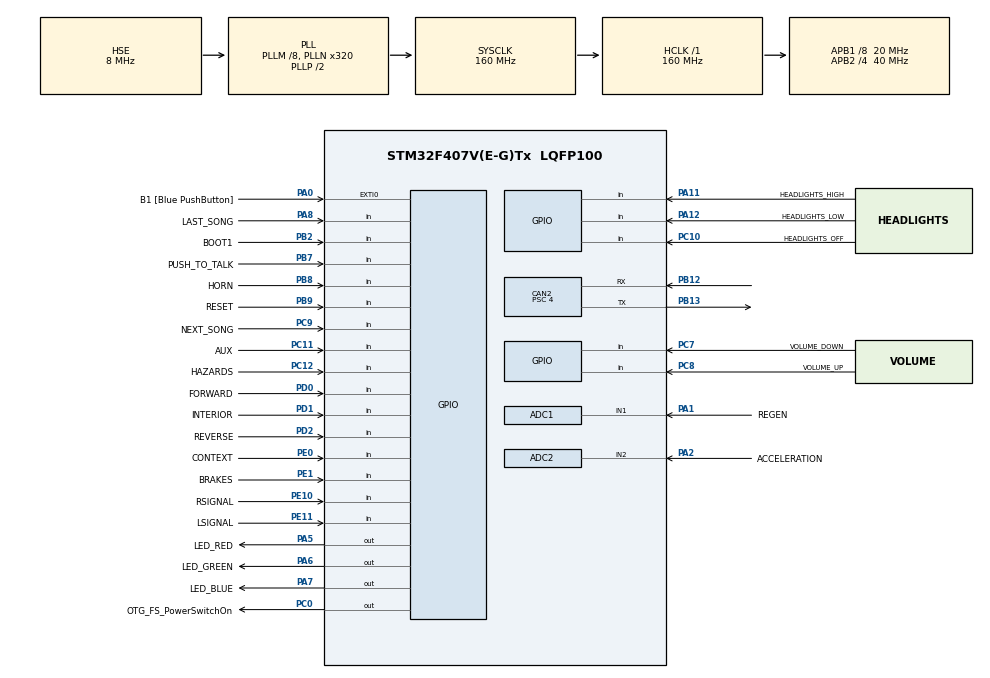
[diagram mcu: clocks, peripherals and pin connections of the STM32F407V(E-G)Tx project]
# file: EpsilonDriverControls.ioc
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ADC1.Channel-4\#ChannelRegularConversion=ADC_CHANNEL_1
ADC1.ContinuousConvMode=ENABLE
ADC1.EOCSelection=ADC_EOC_SEQ_CONV
ADC1.NbrOfConversionFlag=1
ADC1.Rank-4\#ChannelRegularConversion=1
ADC1.SamplingTime-4\#ChannelRegularConversion=ADC_SAMPLETIME_3CYCLES
ADC1.master=1
ADC2.Channel-0\#ChannelRegularConversion=ADC_CHANNEL_2
ADC2.ContinuousConvMode=ENABLE
ADC2.EOCSelection=ADC_EOC_SEQ_CONV
ADC2.NbrOfConversionFlag=1
ADC2.Rank-0\#ChannelRegularConversion=1
ADC2.SamplingTime-0\#ChannelRegularConversion=ADC_SAMPLETIME_3CYCLES
CAN2.BS1=CAN_BS1_5TQ
CAN2.BS2=CAN_BS2_4TQ
CAN2.CalculateBaudRate=500000
CAN2.CalculateTimeBit=2000
CAN2.CalculateTimeQuantum=200.0
CAN2.Prescaler=4
FREERTOS.INCLUDE_vTaskDelayUntil=1
FREERTOS.Tasks01=defaultTask,0,128,StartDefaultTask,Default
Mcu.Family=STM32F4
Mcu.Name=STM32F407V(E-G)Tx
Mcu.Package=LQFP100
NVIC.CAN2_RX0_IRQn=true\:5\:0\:false\:false\:true\:true\:true\:true\:true
NVIC.CAN2_TX_IRQn=true\:5\:0\:false\:false\:true\:true\:true\:true\:true
NVIC.PriorityGroup=NVIC_PRIORITYGROUP_4
NVIC.TIM2_IRQn=true\:15\:0\:false\:false\:true\:false\:true\:true\:true
NVIC.TimeBase=TIM2_IRQn
NVIC.TimeBaseIP=TIM2
PA0-WKUP.GPIO_Label=B1 [Blue PushButton]
PA0-WKUP.Signal=GPXTI0
PA1.GPIO_Label=REGEN
PA1.Signal=ADCx_IN1
PA11.GPIO_Label=HEADLIGHTS_HIGH
PA11.Signal=GPIO_Input
PA12.GPIO_Label=HEADLIGHTS_LOW
PA12.Signal=GPIO_Input
PA13.GPIO_Label=SWDIO
PA13.Mode=Trace_Asynchronous_SW
PA13.Signal=SYS_JTMS-SWDIO
PA14.GPIO_Label=SWCLK
PA14.Mode=Trace_Asynchronous_SW
PA14.Signal=SYS_JTCK-SWCLK
PA2.GPIO_Label=ACCELERATION
PA2.Signal=ADCx_IN2
PA5.GPIO_Label=LED_RED
PA5.Signal=GPIO_Output
PA6.GPIO_Label=LED_GREEN
PA6.Signal=GPIO_Output
PA7.GPIO_Label=LED_BLUE
PA7.Signal=GPIO_Output
PA8.GPIO_Label=LAST_SONG
PA8.Signal=GPIO_Input
PB12.Mode=CAN_Activate
PB12.Signal=CAN2_RX
PB13.Mode=CAN_Activate
PB13.Signal=CAN2_TX
PB2.GPIO_Label=BOOT1
PB2.GPIO_Mode=GPIO_MODE_INPUT
PB2.GPIO_PuPd=GPIO_NOPULL
PB2.Signal=GPIO_Input
PB3.GPIO_Label=SWO
PB3.Mode=Trace_Asynchronous_SW
PB3.Signal=SYS_JTDO-SWO
PB7.GPIO_Label=PUSH_TO_TALK
PB7.Signal=GPIO_Input
PB8.GPIO_Label=HORN
PB8.Signal=GPIO_Input
PB9.GPIO_Label=RESET
PB9.Signal=GPIO_Input
PC0.GPIO_Label=OTG_FS_PowerSwitchOn
PC0.GPIO_PuPd=GPIO_NOPULL
PC0.GPIO_Speed=GPIO_SPEED_FREQ_LOW
PC0.Signal=GPIO_Output
PC10.GPIO_Label=HEADLIGHTS_OFF
PC10.Signal=GPIO_Input
PC11.GPIO_Label=AUX
PC11.Signal=GPIO_Input
PC12.GPIO_Label=HAZARDS
PC12.Signal=GPIO_Input
PC7.GPIO_Label=VOLUME_DOWN
PC7.Signal=GPIO_Input
PC8.GPIO_Label=VOLUME_UP
PC8.Signal=GPIO_Input
PC9.GPIO_Label=NEXT_SONG
PC9.Signal=GPIO_Input
PD0.GPIO_Label=FORWARD
PD0.Signal=GPIO_Input
PD1.GPIO_Label=INTERIOR
PD1.Signal=GPIO_Input
PD2.GPIO_Label=REVERSE
PD2.Signal=GPIO_Input
PE0.GPIO_Label=CONTEXT
PE0.Signal=GPIO_Input
PE1.GPIO_Label=BRAKES
PE1.Signal=GPIO_Input
PE10.GPIO_Label=RSIGNAL
PE10.Signal=GPIO_Input
PE11.GPIO_Label=LSIGNAL
PE11.Signal=GPIO_Input
PH0-OSC_IN.Mode=HSE-External-Oscillator
PH0-OSC_IN.Signal=RCC_OSC_IN
PH1-OSC_OUT.Mode=HSE-External-Oscillator
PH1-OSC_OUT.Signal=RCC_OSC_OUT
ProjectManager.HeapSize=0x200
ProjectManager.StackSize=0x400
ProjectManager.TargetToolchain=SW4STM32
RCC.48MHZClocksFreq_Value=45714285.71428572
RCC.AHBFreq_Value=160000000
RCC.APB1CLKDivider=RCC_HCLK_DIV8
RCC.APB1Freq_Value=20000000
RCC.APB1TimFreq_Value=40000000
RCC.APB2CLKDivider=RCC_HCLK_DIV4
RCC.APB2Freq_Value=40000000
RCC.APB2TimFreq_Value=80000000
RCC.CortexFreq_Value=160000000
RCC.HCLKFreq_Value=160000000
RCC.HSE_VALUE=8000000
RCC.HSI_VALUE=16000000
RCC.LSE_VALUE=32768
RCC.PLLM=8
RCC.PLLN=320
RCC.PLLQ=7
RCC.PLLSourceVirtual=RCC_PLLSOURCE_HSE
RCC.SYSCLKFreq_VALUE=160000000
RCC.SYSCLKSource=RCC_SYSCLKSOURCE_PLLCLK
RCC.VCOOutputFreq_Value=320000000
SH.ADCx_IN1.0=ADC1_IN1,IN1
SH.ADCx_IN2.0=ADC2_IN2,IN2
VP_FREERTOS_VS_CMSIS_V1.Mode=CMSIS_V1
VP_SYS_VS_tim2.Mode=TIM2
board=STM32F4DISCOVERY

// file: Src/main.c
/**
  ******************************************************************************
  * File Name          : main.c
  * Description        : Main program body
  ******************************************************************************
  *
  * COPYRIGHT(c) 2016 STMicroelectronics
  *
  * Redistribution and use in source and binary forms, with or without modification,
  * are permitted provided that the following conditions are met:
  *   1. Redistributions of source code must retain the above copyright notice,
  *      this list of conditions and the following disclaimer.
  *   2. Redistributions in binary form must reproduce the above copyright notice,
  *      this list of conditions and the following disclaimer in the documentation
  *      and/or other materials provided with the distribution.
  *   3. Neither the name of STMicroelectronics nor the names of its contributors
  *      may be used to endorse or promote products derived from this software
  *      without specific prior written permission.
  *
  * THIS SOFTWARE IS PROVIDED BY THE COPYRIGHT HOLDERS AND CONTRIBUTORS "AS IS"
  * AND ANY EXPRESS OR IMPLIED WARRANTIES, INCLUDING, BUT NOT LIMITED TO, THE
  * IMPLIED WARRANTIES OF MERCHANTABILITY AND FITNESS FOR A PARTICULAR PURPOSE ARE
  * DISCLAIMED. IN NO EVENT SHALL THE COPYRIGHT HOLDER OR CONTRIBUTORS BE LIABLE
  * FOR ANY DIRECT, INDIRECT, INCIDENTAL, SPECIAL, EXEMPLARY, OR CONSEQUENTIAL
  * DAMAGES (INCLUDING, BUT NOT LIMITED TO, PROCUREMENT OF SUBSTITUTE GOODS OR
  * SERVICES; LOSS OF USE, DATA, OR PROFITS; OR BUSINESS INTERRUPTION) HOWEVER
  * CAUSED AND ON ANY THEORY OF LIABILITY, WHETHER IN CONTRACT, STRICT LIABILITY,
  * OR TORT (INCLUDING NEGLIGENCE OR OTHERWISE) ARISING IN ANY WAY OUT OF THE USE
  * OF THIS SOFTWARE, EVEN IF ADVISED OF THE POSSIBILITY OF SUCH DAMAGE.
  *
  ******************************************************************************
  */
#include "stm32f4xx_hal.h"
#include "cmsis_os.h"

/* USER CODE BEGIN Includes */
#include "DriverControls.h"
#include "MotorControlTask.h"
/* USER CODE END Includes */

ADC_HandleTypeDef hadc1;
ADC_HandleTypeDef hadc2;

CAN_HandleTypeDef hcan2;

osPoolDef(canPool, 64, CanMsg);
osPoolId canPool;

osMessageQDef(canQueue, 64, CanMsg);
osMessageQId canQueue;

TIM_HandleTypeDef htim6;
TIM_HandleTypeDef htim7;

/* USER CODE BEGIN PV */
/* Private variables ---------------------------------------------------------*/
uint8_t auxBmsInputs[3];
float   motor0VehicleVelocityInput;
float   motor1VehicleVelocityInput;
static osThreadId heartbeatTaskHandle;
static osThreadId lightsTaskHandle;
static osThreadId musicTaskHandle;
static osThreadId driverTaskHandle;
static osThreadId driveCommandsTaskHandle;
static osThreadId canTaskHandle;
/* USER CODE END PV */

void SystemClock_Config(void);
void Error_Handler(void);
static void MX_GPIO_Init(void);
static void MX_CAN2_Init(void);
static void MX_ADC1_Init(void);
static void MX_ADC2_Init(void);

/* USER CODE BEGIN PFP */
/* Private function prototypes -----------------------------------------------*/
static void MX_CAN2_UserInit(void);

/* USER CODE END PFP */

int main(void)
{
    /* MCU Configuration----------------------------------------------------------*/
    /* Reset of all peripherals, Initializes the Flash interface and the Systick. */
    HAL_Init();
    /* Configure the system clock */
    SystemClock_Config();
    /* Initialize all configured peripherals */
    MX_GPIO_Init();
    MX_CAN2_Init();
    MX_ADC1_Init();
    MX_ADC2_Init();
    /* USER CODE BEGIN 2 */
    MX_CAN2_UserInit();
    HAL_ADC_Start(&hadc1);
    HAL_ADC_Start(&hadc2);

    motor_cmd = motor_cmd_init();
    last_motor_cmd = motor_cmd_init();

    // Start Timer for Motor Safety Task ADC Logging
    HAL_TIM_Base_Start_IT(&htim7);
    HAL_TIM_Base_Start_IT(&htim6);

    // Setup for next CAN Receive Interrupt
    if (HAL_CAN_Receive_IT(&hcan2, CAN_FIFO0) != HAL_OK)
    {
        /* Reception Error */
        Error_Handler();
    }

    /* USER CODE END 2 */
    /* Create the thread(s) */
    /* USER CODE BEGIN RTOS_THREADS */
    osThreadDef(heartbeatTask, sendHeartbeatTask, osPriorityNormal, 1, configMINIMAL_STACK_SIZE);
    heartbeatTaskHandle = osThreadCreate(osThread(heartbeatTask), NULL);
    // Setup task to send lights
    osThreadDef(lightsTask, sendLightsTask, osPriorityLow, 1, configMINIMAL_STACK_SIZE);
    lightsTaskHandle = osThreadCreate(osThread(lightsTask), NULL);
    // Setup task to send music
    osThreadDef(musicTask, sendMusicTask, osPriorityLow, 1, configMINIMAL_STACK_SIZE);
    musicTaskHandle = osThreadCreate(osThread(musicTask), NULL);
    // Setup task to send driver
    osThreadDef(driverTask, sendDriverTask, osPriorityLow, 1, configMINIMAL_STACK_SIZE);
    driverTaskHandle = osThreadCreate(osThread(driverTask), NULL);
    // Setup task to send drive commands to motor controllers
    osThreadDef(driveCommandsTask, sendDriveCommandsTask, osPriorityHigh, 1, configMINIMAL_STACK_SIZE * 2);
    driveCommandsTaskHandle = osThreadCreate(osThread(driveCommandsTask), NULL);
    // Setup task to send CAN
    osThreadDef(canTask, sendCanTask, osPriorityHigh, 1, configMINIMAL_STACK_SIZE);
    canTaskHandle = osThreadCreate(osThread(canTask), NULL);
    /* USER CODE END RTOS_THREADS */
    /* USER CODE BEGIN RTOS_QUEUES */
    canPool = osPoolCreate(osPool(canPool));
    canQueue = osMessageCreate(osMessageQ(canQueue), NULL);
    /* USER CODE END RTOS_QUEUES */
    /* Start scheduler */
    osKernelStart();

    /* We should never get here as control is now taken by the scheduler */

    /* Infinite loop */
    /* USER CODE BEGIN WHILE */
    while (1){
        // Polling for carriage return: "\r"
        uint8_t command_status = CheckBuffer(dma_uart_buf, command_end);

        // Command Status 0 means that the command is still being received
        if(command_status == 0){
            command_end++;

        // Command Status 1 means that the command is ready to be parsed
        } else if(command_status == 1){
        	parse_status = ParseMotorCommand(&motor_cmd, dma_uart_buf, last_message, &adc_log_en, &last_motor_cmd, &huart2);

          if(parse_status != 1){
            char error_message[20] = {0};
            sprintf(error_message, "Command Error: %d\r\n", parse_status);
            HAL_UART_Transmit(&huart2, (uint8_t*)error_message, strlen(error_message), 100);
          }

        	HAL_UART_DMAStop(&huart2);
        	HAL_UART_Receive_DMA(&huart2, dma_uart_buf, UART_BUF_LEN);

        	memset(dma_uart_buf, 0, sizeof(dma_uart_buf));

        	command_end = &dma_uart_buf[0];
        }

        uint32_t command_end_addr = (uint32_t)command_end;
        uint32_t buf_end_addr = (uint32_t)(&dma_uart_buf[UART_BUF_LEN] - 1);

        if(command_end_addr >= buf_end_addr){
        	command_end = &dma_uart_buf[0];
        }
        /* USER CODE END WHILE */

      }
}

/** System Clock Configuration
*/
void SystemClock_Config(void)
{
    RCC_OscInitTypeDef RCC_OscInitStruct;
    RCC_ClkInitTypeDef RCC_ClkInitStruct;
    __HAL_RCC_PWR_CLK_ENABLE();
    __HAL_PWR_VOLTAGESCALING_CONFIG(PWR_REGULATOR_VOLTAGE_SCALE1);
    RCC_OscInitStruct.OscillatorType = RCC_OSCILLATORTYPE_HSE;
    RCC_OscInitStruct.HSEState = RCC_HSE_ON;
    RCC_OscInitStruct.PLL.PLLState = RCC_PLL_ON;
    RCC_OscInitStruct.PLL.PLLSource = RCC_PLLSOURCE_HSE;
    RCC_OscInitStruct.PLL.PLLM = 8;
    RCC_OscInitStruct.PLL.PLLN = 320;
    RCC_OscInitStruct.PLL.PLLP = RCC_PLLP_DIV2;
    RCC_OscInitStruct.PLL.PLLQ = 7;

    if (HAL_RCC_OscConfig(&RCC_OscInitStruct) != HAL_OK)
    {
        Error_Handler();
    }

    RCC_ClkInitStruct.ClockType = RCC_CLOCKTYPE_HCLK | RCC_CLOCKTYPE_SYSCLK
                                  | RCC_CLOCKTYPE_PCLK1 | RCC_CLOCKTYPE_PCLK2;
    RCC_ClkInitStruct.SYSCLKSource = RCC_SYSCLKSOURCE_PLLCLK;
    RCC_ClkInitStruct.AHBCLKDivider = RCC_SYSCLK_DIV1;
    RCC_ClkInitStruct.APB1CLKDivider = RCC_HCLK_DIV8;
    RCC_ClkInitStruct.APB2CLKDivider = RCC_HCLK_DIV4;

    if (HAL_RCC_ClockConfig(&RCC_ClkInitStruct, FLASH_LATENCY_5) != HAL_OK)
    {
        Error_Handler();
    }

    HAL_SYSTICK_Config(HAL_RCC_GetHCLKFreq() / 1000);
    HAL_SYSTICK_CLKSourceConfig(SYSTICK_CLKSOURCE_HCLK);
    /* SysTick_IRQn interrupt configuration */
    HAL_NVIC_SetPriority(SysTick_IRQn, 15, 0);
}

/* ADC1 init function */
static void MX_ADC1_Init(void)
{
    ADC_ChannelConfTypeDef sConfig;
    /**Configure the global features of the ADC (Clock, Resolution, Data Alignment and number of conversion)
    */
    hadc1.Instance = ADC1;
    hadc1.Init.ClockPrescaler = ADC_CLOCK_SYNC_PCLK_DIV2;
    hadc1.Init.Resolution = ADC_RESOLUTION_12B;
    hadc1.Init.ScanConvMode = DISABLE;
    hadc1.Init.ContinuousConvMode = ENABLE;
    hadc1.Init.DiscontinuousConvMode = DISABLE;
    hadc1.Init.ExternalTrigConvEdge = ADC_EXTERNALTRIGCONVEDGE_NONE;
    hadc1.Init.DataAlign = ADC_DATAALIGN_RIGHT;
    hadc1.Init.NbrOfConversion = 1;
    hadc1.Init.DMAContinuousRequests = DISABLE;
    hadc1.Init.EOCSelection = ADC_EOC_SEQ_CONV;

    if (HAL_ADC_Init(&hadc1) != HAL_OK)
    {
        Error_Handler();
    }

    /**Configure for the selected ADC regular channel its corresponding rank in the sequencer and its sample time.
    */
    sConfig.Channel = ADC_CHANNEL_1;
    sConfig.Rank = 1;
    sConfig.SamplingTime = ADC_SAMPLETIME_3CYCLES;

    if (HAL_ADC_ConfigChannel(&hadc1, &sConfig) != HAL_OK)
    {
        Error_Handler();
    }
}

/* ADC2 init function */
static void MX_ADC2_Init(void)
{
    ADC_ChannelConfTypeDef sConfig;
    /**Configure the global features of the ADC (Clock, Resolution, Data Alignment and number of conversion)
    */
    hadc2.Instance = ADC2;
    hadc2.Init.ClockPrescaler = ADC_CLOCK_SYNC_PCLK_DIV2;
    hadc2.Init.Resolution = ADC_RESOLUTION_12B;
    hadc2.Init.ScanConvMode = DISABLE;
    hadc2.Init.ContinuousConvMode = ENABLE;
    hadc2.Init.DiscontinuousConvMode = DISABLE;
    hadc2.Init.ExternalTrigConvEdge = ADC_EXTERNALTRIGCONVEDGE_NONE;
    hadc2.Init.DataAlign = ADC_DATAALIGN_RIGHT;
    hadc2.Init.NbrOfConversion = 1;
    hadc2.Init.DMAContinuousRequests = DISABLE;
    hadc2.Init.EOCSelection = ADC_EOC_SEQ_CONV;

    if (HAL_ADC_Init(&hadc2) != HAL_OK)
    {
        Error_Handler();
    }

    /**Configure for the selected ADC regular channel its corresponding rank in the sequencer and its sample time.
    */
    sConfig.Channel = ADC_CHANNEL_2;
    sConfig.Rank = 1;
    sConfig.SamplingTime = ADC_SAMPLETIME_3CYCLES;

    if (HAL_ADC_ConfigChannel(&hadc2, &sConfig) != HAL_OK)
    {
        Error_Handler();
    }
}

/* CAN2 init function */
static void MX_CAN2_Init(void)
{
    hcan2.Instance = CAN2;
    hcan2.Init.Prescaler = 4;
    hcan2.Init.Mode = CAN_MODE_NORMAL;
    hcan2.Init.SJW = CAN_SJW_1TQ;
    hcan2.Init.BS1 = CAN_BS1_5TQ;
    hcan2.Init.BS2 = CAN_BS2_4TQ;
    hcan2.Init.TTCM = DISABLE;
    hcan2.Init.ABOM = DISABLE;
    hcan2.Init.AWUM = DISABLE;
    hcan2.Init.NART = DISABLE;
    hcan2.Init.RFLM = DISABLE;
    hcan2.Init.TXFP = DISABLE;

    if (HAL_CAN_Init(&hcan2) != HAL_OK)
    {
        Error_Handler();
    }
}

/** Configure pins as
        * Analog
        * Input
        * Output
        * EVENT_OUT
        * EXTI
*/
static void MX_GPIO_Init(void)
{
    GPIO_InitTypeDef GPIO_InitStruct;
    /* GPIO Ports Clock Enable */
    __HAL_RCC_GPIOH_CLK_ENABLE();
    __HAL_RCC_GPIOC_CLK_ENABLE();
    __HAL_RCC_GPIOA_CLK_ENABLE();
    __HAL_RCC_GPIOB_CLK_ENABLE();
    __HAL_RCC_GPIOE_CLK_ENABLE();
    __HAL_RCC_GPIOD_CLK_ENABLE();
    /*Configure GPIO pin Output Level */
    HAL_GPIO_WritePin(OTG_FS_PowerSwitchOn_GPIO_Port, OTG_FS_PowerSwitchOn_Pin, GPIO_PIN_RESET);
    /*Configure GPIO pin Output Level */
    HAL_GPIO_WritePin(GPIOA, LED_RED_Pin | LED_GREEN_Pin | LED_BLUE_Pin, GPIO_PIN_RESET);
    /*Configure GPIO pin : OTG_FS_PowerSwitchOn_Pin */
    GPIO_InitStruct.Pin = OTG_FS_PowerSwitchOn_Pin;
    GPIO_InitStruct.Mode = GPIO_MODE_OUTPUT_PP;
    GPIO_InitStruct.Pull = GPIO_NOPULL;
    GPIO_InitStruct.Speed = GPIO_SPEED_FREQ_LOW;
    HAL_GPIO_Init(OTG_FS_PowerSwitchOn_GPIO_Port, &GPIO_InitStruct);
    /*Configure GPIO pin : B1_Pin */
    GPIO_InitStruct.Pin = B1_Pin;
    GPIO_InitStruct.Mode = GPIO_MODE_IT_RISING;
    GPIO_InitStruct.Pull = GPIO_NOPULL;
    HAL_GPIO_Init(B1_GPIO_Port, &GPIO_InitStruct);
    /*Configure GPIO pins : LED_RED_Pin LED_GREEN_Pin LED_BLUE_Pin */
    GPIO_InitStruct.Pin = LED_RED_Pin | LED_GREEN_Pin | LED_BLUE_Pin;
    GPIO_InitStruct.Mode = GPIO_MODE_OUTPUT_PP;
    GPIO_InitStruct.Pull = GPIO_NOPULL;
    GPIO_InitStruct.Speed = GPIO_SPEED_FREQ_LOW;
    HAL_GPIO_Init(GPIOA, &GPIO_InitStruct);
    /*Configure GPIO pins : BOOT1_Pin PUSH_TO_TALK_Pin HORN_Pin RESET_Pin */
    GPIO_InitStruct.Pin = BOOT1_Pin | PUSH_TO_TALK_Pin | HORN_Pin | RESET_Pin;
    GPIO_InitStruct.Mode = GPIO_MODE_INPUT;
    GPIO_InitStruct.Pull = GPIO_NOPULL;
    HAL_GPIO_Init(GPIOB, &GPIO_InitStruct);
    /*Configure GPIO pins : RSIGNAL_Pin LSIGNAL_Pin CONTEXT_Pin BRAKES_Pin */
    GPIO_InitStruct.Pin = RSIGNAL_Pin | LSIGNAL_Pin | CONTEXT_Pin | BRAKES_Pin;
    GPIO_InitStruct.Mode = GPIO_MODE_INPUT;
    GPIO_InitStruct.Pull = GPIO_NOPULL;
    HAL_GPIO_Init(GPIOE, &GPIO_InitStruct);
    /*Configure GPIO pins : VOLUME_DOWN_Pin VOLUME_UP_Pin NEXT_SONG_Pin HEADLIGHTS_OFF_Pin
                             AUX_Pin HAZARDS_Pin */
    GPIO_InitStruct.Pin = VOLUME_DOWN_Pin | VOLUME_UP_Pin | NEXT_SONG_Pin | HEADLIGHTS_OFF_Pin
                          | AUX_Pin | HAZARDS_Pin;
    GPIO_InitStruct.Mode = GPIO_MODE_INPUT;
    GPIO_InitStruct.Pull = GPIO_NOPULL;
    HAL_GPIO_Init(GPIOC, &GPIO_InitStruct);
    /*Configure GPIO pins : LAST_SONG_Pin HEADLIGHTS_HIGH_Pin HEADLIGHTS_LOW_Pin */
    GPIO_InitStruct.Pin = LAST_SONG_Pin | HEADLIGHTS_HIGH_Pin | HEADLIGHTS_LOW_Pin;
    GPIO_InitStruct.Mode = GPIO_MODE_INPUT;
    GPIO_InitStruct.Pull = GPIO_NOPULL;
    HAL_GPIO_Init(GPIOA, &GPIO_InitStruct);
    /*Configure GPIO pins : FORWARD_Pin INTERIOR_Pin REVERSE_Pin */
    GPIO_InitStruct.Pin = FORWARD_Pin | INTERIOR_Pin | REVERSE_Pin;
    GPIO_InitStruct.Mode = GPIO_MODE_INPUT;
    GPIO_InitStruct.Pull = GPIO_NOPULL;
    HAL_GPIO_Init(GPIOD, &GPIO_InitStruct);
}

/* USER CODE BEGIN 4 */
static void MX_CAN2_UserInit(void)
{
    CAN_FilterConfTypeDef sFilterConfig;
    sFilterConfig.FilterNumber = 0; // Use first filter bank
    sFilterConfig.FilterMode = CAN_FILTERMODE_IDLIST; // Look for specific can messages
    // sFilterConfig.FilterMode = CAN_FILTERMODE_IDMASK;
    sFilterConfig.FilterScale = CAN_FILTERSCALE_32BIT;
    sFilterConfig.FilterIdHigh = AUXBMS_INPUT_STDID << 5; // Filter registers need to be shifted left 5 bits
    sFilterConfig.FilterIdLow = 0; // Filter registers need to be shifted left 5 bits
    sFilterConfig.FilterMaskIdHigh = 0; // Unused
    sFilterConfig.FilterMaskIdLow = 0; // Unused
    sFilterConfig.FilterFIFOAssignment = 0;
    sFilterConfig.FilterActivation = ENABLE;
    sFilterConfig.BankNumber = 0; // Set all filter banks for CAN2

    if (HAL_CAN_ConfigFilter(&hcan2, &sFilterConfig) != HAL_OK)
    {
        /* Filter configuration Error */
        Error_Handler();
    }

    /* Configure Transmission process */
    static CanTxMsgTypeDef txMessage;
    static CanRxMsgTypeDef rxMessage;
    hcan2.pTxMsg = &txMessage;
    hcan2.pRxMsg = &rxMessage;
    // hcan2.pTxMsg->StdId = 0x0; // CAN message address, set in Lights.c
    hcan2.pTxMsg->ExtId = 0x0; // Only used if (hcan2.pTxMsg->IDE == CAN_ID_EXT)
    hcan2.pTxMsg->RTR = CAN_RTR_DATA; // Data request, not remote request
    hcan2.pTxMsg->IDE = CAN_ID_STD; // Standard CAN, not Extended
    hcan2.pTxMsg->DLC = 1; // Data size in bytes
}

float arrayToFloat(uint8_t* data)
{
    float result = 0;
    ((unsigned char*)&result)[0] = data[0];
    ((unsigned char*)&result)[1] = data[1];
    ((unsigned char*)&result)[2] = data[2];
    ((unsigned char*)&result)[3] = data[3];

    return result;
}

// Reimplement weak definition in stm32f4xx_hal_can.c
void HAL_CAN_RxCpltCallback(CAN_HandleTypeDef* hcan)
{
    CanRxMsgTypeDef* msg = hcan->pRxMsg;

    if (msg->StdId == AUXBMS_INPUT_STDID && msg->DLC == 3)
    {
        auxBmsInputs[0] = msg->Data[0];
        auxBmsInputs[1] = msg->Data[1];
        auxBmsInputs[2] = msg->Data[2];
    }

    if (msg->StdId == M0_VELOCITY_INPUT_STDID && msg->DLC == 8)
    {
        motor0VehicleVelocityInput = arrayToFloat(&(msg->Data[4]));
    }

    if (msg->StdId == M1_VELOCITY_INPUT_STDID && msg->DLC == 8)
    {
        motor1VehicleVelocityInput = arrayToFloat(&(msg->Data[4]));
    }

    if (HAL_CAN_Receive_IT(hcan, CAN_FIFO0) == HAL_OK)
        // Toggle green LED for every CAN message received
    {
        HAL_GPIO_TogglePin(LED_BLUE_GPIO_Port, LED_BLUE_Pin);
    }

    __HAL_CAN_CLEAR_FLAG(hcan, CAN_FLAG_FMP0);
}
/* USER CODE END 4 */

void Error_Handler(void)
{
    while (1)
    {
    }
}

/************************ (C) COPYRIGHT STMicroelectronics *****END OF FILE****/
